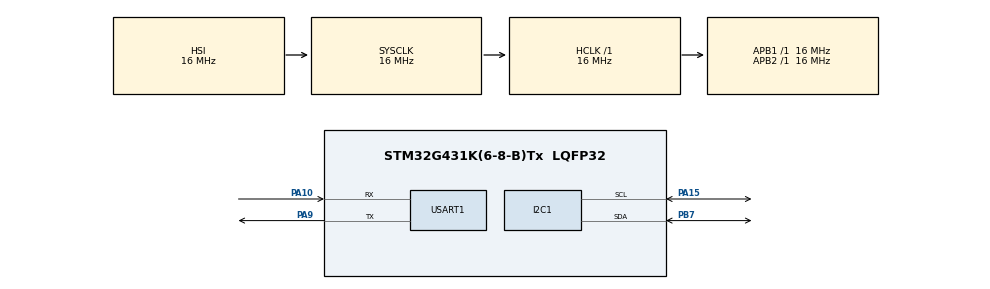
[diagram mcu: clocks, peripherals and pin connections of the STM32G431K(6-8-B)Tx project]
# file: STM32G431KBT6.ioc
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Mcu.Family=STM32G4
Mcu.Name=STM32G431K(6-8-B)Tx
Mcu.Package=LQFP32
NVIC.PriorityGroup=NVIC_PRIORITYGROUP_4
PA10.Mode=Asynchronous
PA10.Signal=USART1_RX
PA15.Mode=I2C
PA15.Signal=I2C1_SCL
PA9.Mode=Asynchronous
PA9.Signal=USART1_TX
PB7.Mode=I2C
PB7.Signal=I2C1_SDA
ProjectManager.HeapSize=0x200
ProjectManager.StackSize=0x400
ProjectManager.TargetToolchain=STM32CubeIDE
RCC.AHBFreq_Value=16000000
RCC.APB1Freq_Value=16000000
RCC.APB1TimFreq_Value=16000000
RCC.APB2Freq_Value=16000000
RCC.APB2TimFreq_Value=16000000
RCC.CK48CLockSelection=RCC_USBCLKSOURCE_HSI48
RCC.CortexFreq_Value=16000000
RCC.EXTERNAL_CLOCK_VALUE=12288000
RCC.HCLKFreq_Value=16000000
RCC.HSE_VALUE=8000000
RCC.HSI48_VALUE=48000000
RCC.HSI_VALUE=16000000
RCC.LSE_VALUE=32768
RCC.SYSCLKFreq_VALUE=16000000
RCC.USBFreq_Value=48000000
RCC.VCOOutputFreq_Value=128000000
USART1.VirtualMode-Asynchronous=VM_ASYNC
VP_RTC_VS_RTC_Activate.Mode=RTC_Enabled
board=custom

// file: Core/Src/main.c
/* USER CODE BEGIN Header */
/**
  ******************************************************************************
  * @file           : main.c
  * @brief          : Main program body
  ******************************************************************************
  * @attention
  *
  * Copyright (c) 2023 STMicroelectronics.
  * All rights reserved.
  *
  * This software is licensed under terms that can be found in the LICENSE file
  * in the root directory of this software component.
  * If no LICENSE file comes with this software, it is provided AS-IS.
  *
  ******************************************************************************
  */
/* USER CODE END Header */
#include "main.h"

/* USER CODE BEGIN Includes */
#include "i2c-lcd.h"
#include "stdio.h"

/* USER CODE END Includes */

I2C_HandleTypeDef hi2c1;

RTC_HandleTypeDef hrtc;

UART_HandleTypeDef huart1;

void SystemClock_Config(void);
static void MX_GPIO_Init(void);
static void MX_I2C1_Init(void);
static void MX_RTC_Init(void);
static void MX_USART1_UART_Init(void);

/* USER CODE BEGIN 0 */
char time[10];
char date[10];

uint8_t buffer[64];

RTC_TimeTypeDef sTime;
RTC_DateTypeDef sDate;

RTC_DateTypeDef gDate;
RTC_TimeTypeDef gTime;

uint8_t data[4];

void Display_Row1 (void)
{
	lcd_put_cur(0, 0);
	lcd_send_string(time);
}

void Display_Row2 (void)
{
	lcd_put_cur(1, 0);
	lcd_send_string(date);
}

void set_time (void)
{
    /**Initialize RTC and set the Time and Date
    */
  sTime.Hours = 0x10;
  sTime.Minutes = 0x52;
  sTime.Seconds = 0x00;
  sTime.DayLightSaving = RTC_DAYLIGHTSAVING_NONE;
  sTime.StoreOperation = RTC_STOREOPERATION_RESET;
  if (HAL_RTC_SetTime(&hrtc, &sTime, RTC_FORMAT_BCD) != HAL_OK)
   {
     Error_Handler();
   }

  sDate.WeekDay = RTC_WEEKDAY_WEDNESDAY;
  sDate.Month = RTC_MONTH_AUGUST;
  sDate.Date = 0x09;
  sDate.Year = 0x23;

  if (HAL_RTC_SetDate(&hrtc, &sDate, RTC_FORMAT_BCD) != HAL_OK)
  {
    Error_Handler();
  }

  /* USER CODE BEGIN RTC_Init 4 */

  HAL_RTCEx_BKUPWrite(&hrtc, RTC_BKP_DR1, 0x32F2);  // backup register

  /* USER CODE END RTC_Init 4 */
}
void get_time(void)
{
  /* Get the RTC current Time */
  HAL_RTC_GetTime(&hrtc, &gTime, RTC_FORMAT_BIN);
  /* Get the RTC current Date */
  HAL_RTC_GetDate(&hrtc, &gDate, RTC_FORMAT_BIN);

  /* Display time Format: hh:mm:ss */
  sprintf((char*)time,"%02d:%02d:%02d",gTime.Hours, gTime.Minutes, gTime.Seconds);

  /* Display date Format: mm-dd-yy */
  sprintf((char*)date,"%02d-%02d-%2d",gDate.Month, gDate.Date, 2000 + gDate.Year);  // I like the date first
}

//Let's display the time and date on lcd
void display_time (void)
{
	Display_Row1();
	Display_Row2();
}
/* USER CODE END 0 */

int main(void)
{

  /* MCU Configuration--------------------------------------------------------*/

  /* Reset of all peripherals, Initializes the Flash interface and the Systick. */
  HAL_Init();

  /* Configure the system clock */
  SystemClock_Config();

  /* Initialize all configured peripherals */
  MX_GPIO_Init();
  MX_I2C1_Init();
  MX_RTC_Init();
  MX_USART1_UART_Init();
  /* USER CODE BEGIN 2 */
  lcd_init();
  lcd_send_string("<<init>>");
  lcd_clear();
  set_time();
  /* USER CODE END 2 */

  /* Infinite loop */
  /* USER CODE BEGIN WHILE */
  while (1)
  {
	  HAL_I2C_Slave_Receive_IT(&hi2c2, (uint8_t *) data, 8);
	  //get_time();
	  //display_time();
    /* USER CODE END WHILE */

  }
}

void SystemClock_Config(void)
{
  RCC_OscInitTypeDef RCC_OscInitStruct = {0};
  RCC_ClkInitTypeDef RCC_ClkInitStruct = {0};

  /** Configure the main internal regulator output voltage
  */
  HAL_PWREx_ControlVoltageScaling(PWR_REGULATOR_VOLTAGE_SCALE1);

  /** Initializes the RCC Oscillators according to the specified parameters
  * in the RCC_OscInitTypeDef structure.
  */
  RCC_OscInitStruct.OscillatorType = RCC_OSCILLATORTYPE_HSI|RCC_OSCILLATORTYPE_LSI;
  RCC_OscInitStruct.HSIState = RCC_HSI_ON;
  RCC_OscInitStruct.HSICalibrationValue = RCC_HSICALIBRATION_DEFAULT;
  RCC_OscInitStruct.LSIState = RCC_LSI_ON;
  RCC_OscInitStruct.PLL.PLLState = RCC_PLL_NONE;
  if (HAL_RCC_OscConfig(&RCC_OscInitStruct) != HAL_OK)
  {
    Error_Handler();
  }

  /** Initializes the CPU, AHB and APB buses clocks
  */
  RCC_ClkInitStruct.ClockType = RCC_CLOCKTYPE_HCLK|RCC_CLOCKTYPE_SYSCLK
                              |RCC_CLOCKTYPE_PCLK1|RCC_CLOCKTYPE_PCLK2;
  RCC_ClkInitStruct.SYSCLKSource = RCC_SYSCLKSOURCE_HSI;
  RCC_ClkInitStruct.AHBCLKDivider = RCC_SYSCLK_DIV1;
  RCC_ClkInitStruct.APB1CLKDivider = RCC_HCLK_DIV1;
  RCC_ClkInitStruct.APB2CLKDivider = RCC_HCLK_DIV1;

  if (HAL_RCC_ClockConfig(&RCC_ClkInitStruct, FLASH_LATENCY_0) != HAL_OK)
  {
    Error_Handler();
  }
}

static void MX_I2C1_Init(void)
{

  hi2c1.Instance = I2C1;
  hi2c1.Init.Timing = 0x00303D5B;
  hi2c1.Init.OwnAddress1 = 0;
  hi2c1.Init.AddressingMode = I2C_ADDRESSINGMODE_7BIT;
  hi2c1.Init.DualAddressMode = I2C_DUALADDRESS_DISABLE;
  hi2c1.Init.OwnAddress2 = 0;
  hi2c1.Init.OwnAddress2Masks = I2C_OA2_NOMASK;
  hi2c1.Init.GeneralCallMode = I2C_GENERALCALL_DISABLE;
  hi2c1.Init.NoStretchMode = I2C_NOSTRETCH_DISABLE;
  if (HAL_I2C_Init(&hi2c1) != HAL_OK)
  {
    Error_Handler();
  }

  /** Configure Analogue filter
  */
  if (HAL_I2CEx_ConfigAnalogFilter(&hi2c1, I2C_ANALOGFILTER_ENABLE) != HAL_OK)
  {
    Error_Handler();
  }

  /** Configure Digital filter
  */
  if (HAL_I2CEx_ConfigDigitalFilter(&hi2c1, 0) != HAL_OK)
  {
    Error_Handler();
  }

}

static void MX_RTC_Init(void)
{

  /** Initialize RTC Only
  */
  hrtc.Instance = RTC;
  hrtc.Init.HourFormat = RTC_HOURFORMAT_24;
  hrtc.Init.AsynchPrediv = 127;
  hrtc.Init.SynchPrediv = 255;
  hrtc.Init.OutPut = RTC_OUTPUT_DISABLE;
  hrtc.Init.OutPutRemap = RTC_OUTPUT_REMAP_NONE;
  hrtc.Init.OutPutPolarity = RTC_OUTPUT_POLARITY_HIGH;
  hrtc.Init.OutPutType = RTC_OUTPUT_TYPE_OPENDRAIN;
  hrtc.Init.OutPutPullUp = RTC_OUTPUT_PULLUP_NONE;
  if (HAL_RTC_Init(&hrtc) != HAL_OK)
  {
    Error_Handler();
  }

}

static void MX_USART1_UART_Init(void)
{

  huart1.Instance = USART1;
  huart1.Init.BaudRate = 115200;
  huart1.Init.WordLength = UART_WORDLENGTH_8B;
  huart1.Init.StopBits = UART_STOPBITS_1;
  huart1.Init.Parity = UART_PARITY_NONE;
  huart1.Init.Mode = UART_MODE_TX_RX;
  huart1.Init.HwFlowCtl = UART_HWCONTROL_NONE;
  huart1.Init.OverSampling = UART_OVERSAMPLING_16;
  huart1.Init.OneBitSampling = UART_ONE_BIT_SAMPLE_DISABLE;
  huart1.Init.ClockPrescaler = UART_PRESCALER_DIV1;
  huart1.AdvancedInit.AdvFeatureInit = UART_ADVFEATURE_NO_INIT;
  if (HAL_UART_Init(&huart1) != HAL_OK)
  {
    Error_Handler();
  }
  if (HAL_UARTEx_SetTxFifoThreshold(&huart1, UART_TXFIFO_THRESHOLD_1_8) != HAL_OK)
  {
    Error_Handler();
  }
  if (HAL_UARTEx_SetRxFifoThreshold(&huart1, UART_RXFIFO_THRESHOLD_1_8) != HAL_OK)
  {
    Error_Handler();
  }
  if (HAL_UARTEx_DisableFifoMode(&huart1) != HAL_OK)
  {
    Error_Handler();
  }

}

static void MX_GPIO_Init(void)
{

  /* GPIO Ports Clock Enable */
  __HAL_RCC_GPIOA_CLK_ENABLE();
  __HAL_RCC_GPIOB_CLK_ENABLE();

}

void Error_Handler(void)
{
  __disable_irq();
  while (1)
  {
  }
}
